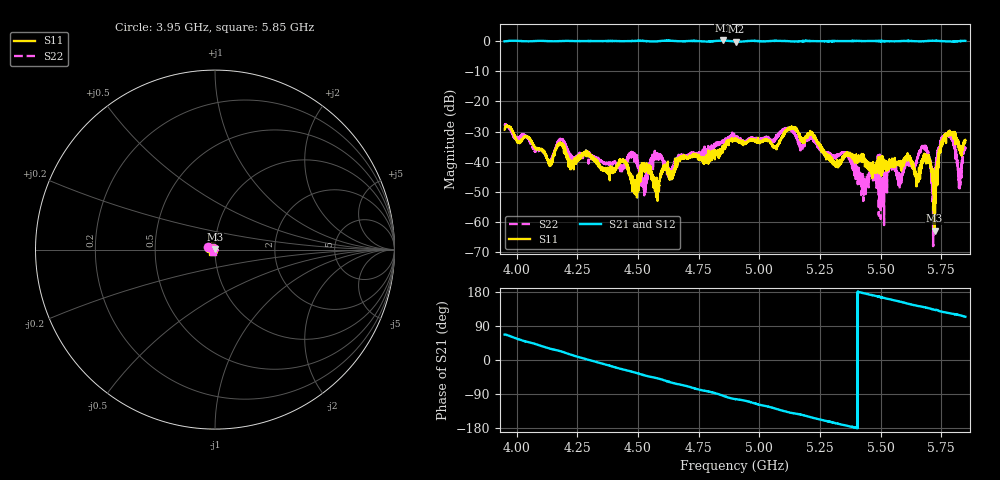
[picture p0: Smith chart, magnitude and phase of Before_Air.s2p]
# GHZ S RI R 50.000000000000
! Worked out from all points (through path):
!   4501 points, 3.95 GHz to 5.85 GHz, reference 50 ohm
!   highest |S21| = 0.15 dB at 4.851 GHz (marker M1); lowest = -0.3 dB at 4.904 GHz (marker M2)
!   group delay of S21, straight-line fit = 452 ps
!   lowest |S11| = -62.8 dB at 5.723 GHz (marker M3), VSWR 1.00, Z = 50 + j0.07 ohm
!   |S11| at or under -10 dB: start of sweep to end of sweep
!   |S22| runs from -67.9 to -27.6 dB; largest |S21 - S12| = 0.035
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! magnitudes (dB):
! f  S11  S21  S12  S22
! 3.95 GHz  -29.3  -0.1  -0.2  -27.8
! 4.134 GHz  -40.7  -0.1  -0.1  -39.9
! 4.181 GHz  -33.9  0.0  -0.1  -32.5
! 4.267 GHz  -38.0  -0.1  0.0  -38.0
! 4.475 GHz  -45.6  0.0  0.0  -38.2
! 4.523 GHz  -42.9  0.0  0.0  -47.9
! 4.584 GHz  -48.7  -0.1  -0.2  -38.9
! 4.631 GHz  -46.0  0.0  0.1  -43.8
! 4.851 GHz  -35.4  0.1  0.2  -33.7
! 4.9 GHz  -32.3  -0.2  -0.1  -31.5
! 4.904 GHz  -33.1  -0.3  -0.1  -32.0
! 5.217 GHz  -30.9  -0.1  0.0  -32.1
! 5.311 GHz  -40.8  0.0  0.0  -38.2
! 5.43 GHz  -39.7  -0.1  0.0  -49.0
! 5.507 GHz  -40.6  -0.1  0.0  -52.7
! 5.534 GHz  -40.3  -0.1  -0.1  -41.1
! 5.581 GHz  -40.9  -0.1  -0.1  -46.0
! 5.679 GHz  -37.9  -0.1  -0.1  -36.0
! 5.723 GHz  -62.8  0.0  0.0  -47.8
! 5.76 GHz  -32.2  -0.1  -0.1  -31.7
! 5.826 GHz  -35.9  -0.1  -0.1  -48.8
! 5.85 GHz  -33.2  0.0  0.1  -35.1
